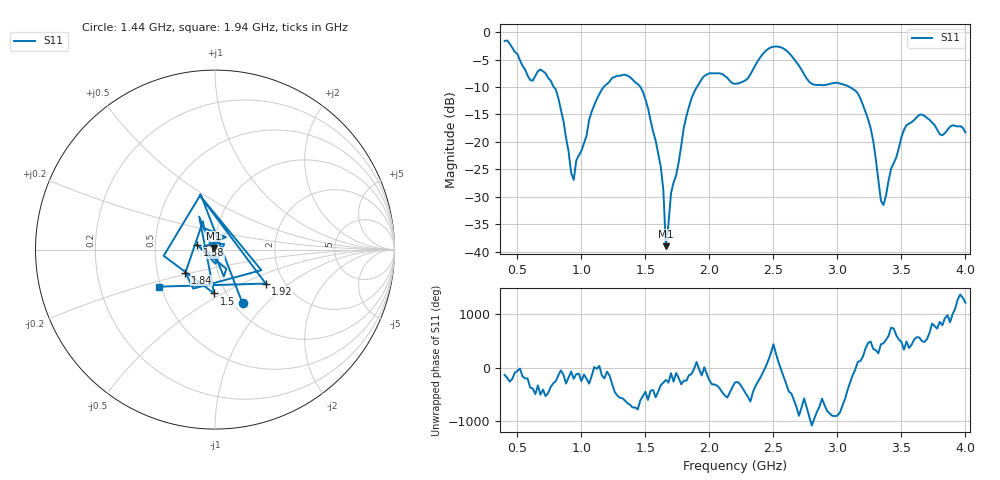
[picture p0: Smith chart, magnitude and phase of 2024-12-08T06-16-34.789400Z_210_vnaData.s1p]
!Created with skrf (http://scikit-rf.org).
# Hz S RI R 50.0
!freq ReS11 ImS11
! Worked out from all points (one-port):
!   181 points, 400 MHz to 4 GHz, reference 50 ohm
!   lowest |S11| = -39.0 dB at 1.66 GHz (marker M1), VSWR 1.02, Z = 49.3 + j0.842 ohm
!   |S11| at or under -10 dB: 784.5 MHz to 1.174 GHz (390 MHz wide, 39.8 % of centre); 1.461 GHz to 1.902 GHz (441.1 MHz wide, 26.2 % of centre); 3.095 GHz to end of sweep
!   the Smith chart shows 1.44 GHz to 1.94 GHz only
!   S11 on the Smith chart (normalised r, x): 1.44 GHz: 1.10, -0.74; 1.5 GHz: 0.88, -0.46; 1.58 GHz: 0.82, +0.04; 1.84 GHz: 0.70, -0.19; 1.92 GHz: 1.61, -0.69; 1.94 GHz: 0.49, -0.23
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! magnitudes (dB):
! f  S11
! 400 MHz  -1.6
! 600 MHz  -8.7
! 720 MHz  -7.5
! 800 MHz  -10.4
! 860 MHz  -16.2
! 940 MHz  -26.9
! 1.12 GHz  -12.2
! 1.3 GHz  -8.0
! 1.44 GHz  -9.5
! 1.5 GHz  -12.2
! 1.58 GHz  -19.7
! 1.64 GHz  -28.8
! 1.66 GHz  -39.0
! 1.7 GHz  -29.4
! 1.76 GHz  -23.7
! 1.84 GHz  -13.6
! 1.92 GHz  -9.4
! 1.94 GHz  -8.5
! 2.2 GHz  -9.4
! 2.48 GHz  -2.8
! 2.66 GHz  -4.9
! 2.8 GHz  -9.4
! 3.1 GHz  -10.1
! 3.26 GHz  -17.5
! 3.36 GHz  -31.5
! 3.42 GHz  -24.8
! 3.56 GHz  -16.7
! 4 GHz  -18.2
